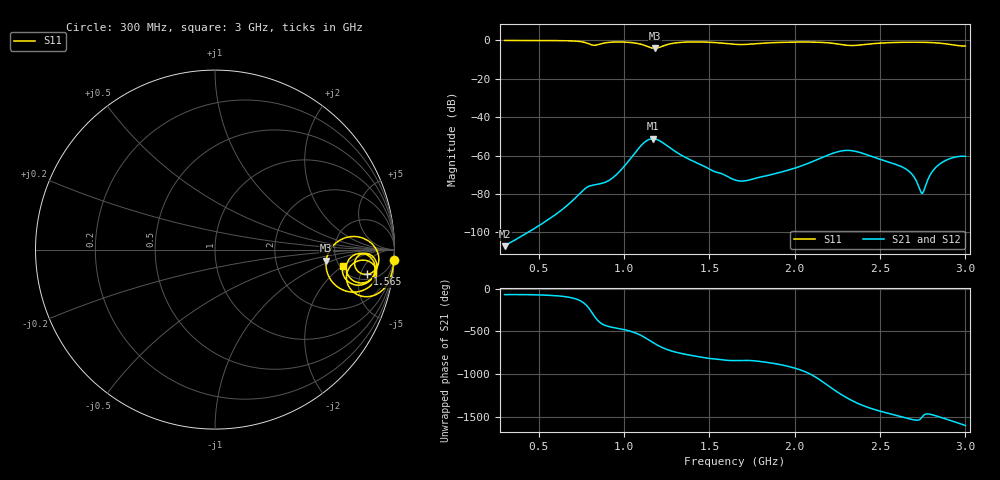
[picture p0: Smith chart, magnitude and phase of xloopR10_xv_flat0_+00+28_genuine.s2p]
! xloopR10_xv_flat0_+00+28_genuine, gap C 0.80 pF
! simulated by sim/fixtures_fdtd.py (S12 = S21, S22 not computed)
# HZ S RI R 50
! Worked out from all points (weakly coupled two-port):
!   541 points, 300 MHz to 3 GHz, reference 50 ohm
!   highest |S21| = -51.26 dB at 1.17 GHz (marker M1); lowest = -107.3 dB at 300 MHz (marker M2)
!   lowest |S11| = -4.1 dB at 1.18 GHz (marker M3), VSWR 4.30, Z = 206 - j41.1 ohm
!   |S11| at or under -10 dB: nowhere
!   |S22| runs from - to - dB; largest |S21 - S12| = 0
!   S11 on the Smith chart (normalised r, x): 300 MHz: 1, -33; 1.565 GHz: 6.22, -6.48; 3 GHz: 5.27, -2.00
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3e8  0.9972 -0.0607  1.4e-06 -4.1e-06  1.4e-06 -4.1e-06  0 0
7.5e8  0.8903 -0.2534  -9.73e-05 -5.59e-05  -9.73e-05 -5.59e-05  0 0
8.2e8  0.7323 -0.1593  0.000101 0.000136  0.000101 0.000136  0 0
8.6e8  0.8063 -0.0605  0.000143 -0.000116  0.000143 -0.000116  0 0
9.3e8  0.8963 -0.1074  -1.42e-05 -0.000255  -1.42e-05 -0.000255  0 0
1.095e9  0.7688 -0.2369  -0.00172 0.000116  -0.00172 0.000116  0 0
1.17e9  0.6192 -0.0976  9.38e-05 0.00273  9.38e-05 0.00273  0 0
1.18e9  0.6199 -0.0609  0.000656 0.00262  0.000656 0.00262  0 0
1.2e9  0.6455 0.00574  0.00151 0.00203  0.00151 0.00203  0 0
1.345e9  0.8966 0.00414  0.000705 -0.000661  0.000705 -0.000661  0 0
1.565e9  0.8467 -0.1377  -0.000118 -0.000323  -0.000118 -0.000323  0 0
1.65e9  0.7839 -0.1041  -0.000123 -0.000195  -0.000123 -0.000195  0 0
1.805e9  0.8416 -0.0212  -0.000196 -0.000198  -0.000196 -0.000198  0 0
2.1e9  0.8953 -0.1313  0.000234 0.000642  0.000234 0.000642  0 0
2.31e9  0.7343 -0.126  -0.00125 0.000526  -0.00125 0.000526  0 0
2.55e9  0.8725 -0.0495  0.000635 -0.000229  0.000635 -0.000229  0 0
2.675e9  0.8925 -0.1074  3.44e-05 -0.000368  3.44e-05 -0.000368  0 0
2.745e9  0.8838 -0.1442  4.2e-05 -9.44e-05  4.2e-05 -9.44e-05  0 0
2.8e9  0.8627 -0.1732  0.000293 -0.000188  0.000293 -0.000188  0 0
2.84e9  0.8359 -0.1907  0.000313 -0.00046  0.000313 -0.00046  0 0
2.915e9  0.7584 -0.1888  -0.000207 -0.000822  -0.000207 -0.000822  0 0
3e9  0.7104 -0.0922  -0.000899 -0.000317  -0.000899 -0.000317  0 0
